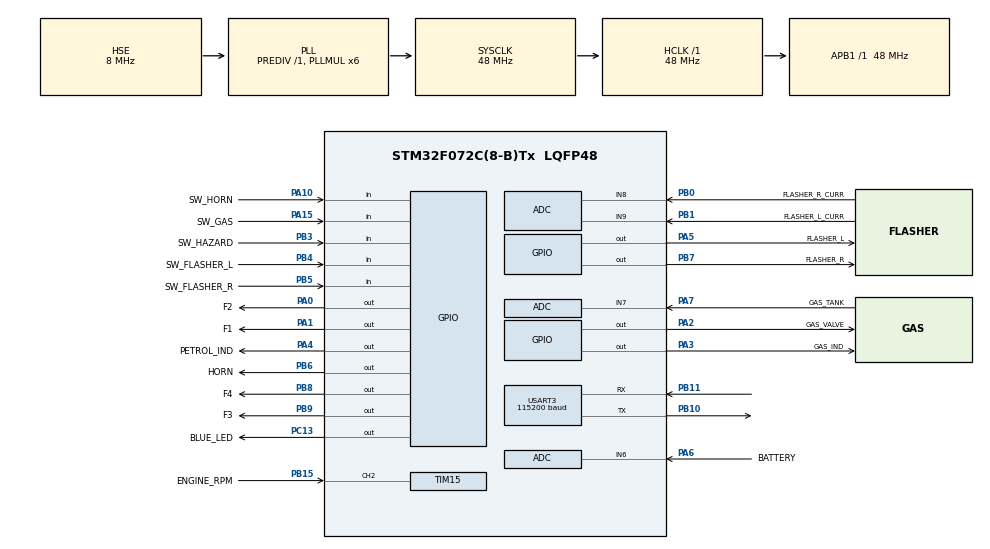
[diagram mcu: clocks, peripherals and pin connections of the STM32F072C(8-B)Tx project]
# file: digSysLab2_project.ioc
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ADC.DiscontinuousConvMode=ENABLE
ADC.SamplingTime=ADC_SAMPLETIME_239CYCLES_5
Dma.Request0=USART3_TX
Dma.Request1=USART3_RX
Dma.USART3_RX.1.Direction=DMA_PERIPH_TO_MEMORY
Dma.USART3_RX.1.Instance=DMA1_Channel3
Dma.USART3_RX.1.MemDataAlignment=DMA_MDATAALIGN_BYTE
Dma.USART3_RX.1.MemInc=DMA_MINC_ENABLE
Dma.USART3_RX.1.Mode=DMA_NORMAL
Dma.USART3_RX.1.PeriphDataAlignment=DMA_PDATAALIGN_BYTE
Dma.USART3_RX.1.PeriphInc=DMA_PINC_DISABLE
Dma.USART3_RX.1.Priority=DMA_PRIORITY_LOW
Dma.USART3_TX.0.Direction=DMA_MEMORY_TO_PERIPH
Dma.USART3_TX.0.Instance=DMA1_Channel2
Dma.USART3_TX.0.MemDataAlignment=DMA_MDATAALIGN_BYTE
Dma.USART3_TX.0.MemInc=DMA_MINC_ENABLE
Dma.USART3_TX.0.Mode=DMA_NORMAL
Dma.USART3_TX.0.PeriphDataAlignment=DMA_PDATAALIGN_BYTE
Dma.USART3_TX.0.PeriphInc=DMA_PINC_DISABLE
Dma.USART3_TX.0.Priority=DMA_PRIORITY_LOW
Mcu.Family=STM32F0
Mcu.Name=STM32F072C(8-B)Tx
Mcu.Package=LQFP48
NVIC.ADC1_COMP_IRQn=true\:0\:0\:false\:false\:true\:true\:true\:true
NVIC.DMA1_Channel2_3_IRQn=true\:0\:0\:false\:false\:true\:false\:true\:true
NVIC.TIM15_IRQn=true\:0\:0\:false\:false\:true\:true\:true\:true
NVIC.TIM7_IRQn=true\:0\:0\:false\:false\:true\:true\:true\:true
NVIC.USART3_4_IRQn=true\:0\:0\:false\:false\:true\:true\:true\:true
PA0.GPIO_Label=F2
PA0.Signal=GPIO_Output
PA1.GPIO_Label=F1
PA1.Signal=GPIO_Output
PA10.GPIO_Label=SW_HORN
PA10.GPIO_PuPd=GPIO_PULLDOWN
PA10.Signal=GPIO_Input
PA13.Mode=Serial_Wire
PA13.Signal=SYS_SWDIO
PA14.Mode=Serial_Wire
PA14.Signal=SYS_SWCLK
PA15.GPIO_Label=SW_GAS
PA15.GPIO_PuPd=GPIO_PULLUP
PA15.Signal=GPIO_Input
PA2.GPIO_Label=GAS_VALVE
PA2.Signal=GPIO_Output
PA3.GPIO_Label=GAS_IND
PA3.Signal=GPIO_Output
PA4.GPIO_Label=PETROL_IND
PA4.Signal=GPIO_Output
PA5.GPIO_Label=FLASHER_L
PA5.Signal=GPIO_Output
PA6.GPIO_Label=BATTERY
PA6.Mode=IN6
PA6.Signal=ADC_IN6
PA7.GPIO_Label=GAS_TANK
PA7.Mode=IN7
PA7.Signal=ADC_IN7
PB0.GPIO_Label=FLASHER_R_CURR
PB0.Mode=IN8
PB0.Signal=ADC_IN8
PB1.GPIO_Label=FLASHER_L_CURR
PB1.Mode=IN9
PB1.Signal=ADC_IN9
PB10.Mode=Asynchronous
PB10.Signal=USART3_TX
PB11.Mode=Asynchronous
PB11.Signal=USART3_RX
PB15.GPIO_Label=ENGINE_RPM
PB15.Signal=S_TIM15_CH2
PB3.GPIO_Label=SW_HAZARD
PB3.GPIO_PuPd=GPIO_PULLDOWN
PB3.Signal=GPIO_Input
PB4.GPIO_Label=SW_FLASHER_L
PB4.GPIO_PuPd=GPIO_PULLUP
PB4.Signal=GPIO_Input
PB5.GPIO_Label=SW_FLASHER_R
PB5.GPIO_PuPd=GPIO_PULLUP
PB5.Signal=GPIO_Input
PB6.GPIO_Label=HORN
PB6.Signal=GPIO_Output
PB7.GPIO_Label=FLASHER_R
PB7.Signal=GPIO_Output
PB8.GPIO_Label=F4
PB8.Signal=GPIO_Output
PB9.GPIO_Label=F3
PB9.Signal=GPIO_Output
PC13.GPIO_Label=BLUE_LED
PC13.Signal=GPIO_Output
PC14-OSC32_IN.Mode=LSE-External-Oscillator
PC14-OSC32_IN.Signal=RCC_OSC32_IN
PC15-OSC32_OUT.Mode=LSE-External-Oscillator
PC15-OSC32_OUT.Signal=RCC_OSC32_OUT
PF0-OSC_IN.Mode=HSE-External-Oscillator
PF0-OSC_IN.Signal=RCC_OSC_IN
PF1-OSC_OUT.Mode=HSE-External-Oscillator
PF1-OSC_OUT.Signal=RCC_OSC_OUT
ProjectManager.HeapSize=0x200
ProjectManager.StackSize=0x400
ProjectManager.TargetToolchain=CMake
RCC.AHBFreq_Value=48000000
RCC.APB1Freq_Value=48000000
RCC.APB1TimFreq_Value=48000000
RCC.EnbaleCSS=true
RCC.HCLKFreq_Value=48000000
RCC.PLLMUL=RCC_PLL_MUL6
RCC.PLLSourceVirtual=RCC_PLLSOURCE_HSE
RCC.SYSCLKFreq_VALUE=48000000
RCC.SYSCLKSource=RCC_SYSCLKSOURCE_PLLCLK
SH.S_TIM15_CH2.0=TIM15_CH2,Input_Capture2_from_TI2
TIM15.Channel-Input_Capture2_from_TI2=TIM_CHANNEL_2
TIM15.Prescaler=48-1
TIM7.Period=1000-1
TIM7.Prescaler=48-1
USART3.BaudRate=115200
USART3.Parity=PARITY_EVEN
USART3.VirtualMode-Asynchronous=VM_ASYNC
USART3.WordLength=WORDLENGTH_9B
VP_TIM15_VS_ClockSourceINT.Mode=Internal
VP_TIM7_VS_ClockSourceINT.Mode=Enable_Timer
board=custom

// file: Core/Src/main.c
/* USER CODE BEGIN Header */
/**
 ******************************************************************************
 * @file           : main.c
 * @brief          : Main program body
 ******************************************************************************
 * @attention
 *
 * Copyright (c) 2026 STMicroelectronics.
 * All rights reserved.
 *
 * This software is licensed under terms that can be found in the LICENSE file
 * in the root directory of this software component.
 * If no LICENSE file comes with this software, it is provided AS-IS.
 *
 ******************************************************************************
 */
/* USER CODE END Header */
#include "main.h"
#include "adc.h"
#include "dma.h"
#include "gpio.h"
#include "tim.h"
#include "usart.h"

/* USER CODE BEGIN Includes */
#include "battery.h"
#include "diagnostic.h"
#include "flasher.h"
#include "fuel.h"
#include "horn.h"
#include "scheduler.h"

/* USER CODE END Includes */

void SystemClock_Config(void);

int main(void) {

  /* MCU Configuration--------------------------------------------------------*/

  /* Reset of all peripherals, Initializes the Flash interface and the Systick.
   */
  HAL_Init();

  /* Configure the system clock */
  SystemClock_Config();

  /* Initialize all configured peripherals */
  MX_GPIO_Init();
  MX_DMA_Init();
  MX_TIM7_Init();
  MX_USART3_UART_Init();
  MX_ADC_Init();
  MX_TIM15_Init();
  /* USER CODE BEGIN 2 */
  HAL_TIM_Base_Start_IT(&htim7);

  /* Initializations */
  ADC_Start(ADC_CHANNEL_6);
  Horn_Init();
  Battery_Init();
  Fuel_Init();
  Flasher_Init();

  /* Create Tasks*/
  createTask(readADC, 10);

  createTask(Horn_ReadInput, 10);
  createTask(Horn_Update, 10);
  createTask(Horn_WriteOutput, 10);

  createTask(Battery_ReadInput, 10);
  createTask(Battery_Update, 10);

  createTask(Fuel_ReadInput, 10);
  createTask(Fuel_Update, 10);
  createTask(Fuel_WriteOutput, 10);

  createTask(Flasher_ReadInput, 10);
  createTask(Flasher_Update, 10);
  createTask(Flasher_WriteOutput, 10);

  createTask(diagnostic, 250);
  /* USER CODE END 2 */

  /* Infinite loop */
  /* USER CODE BEGIN WHILE */
  while (1) {
    readRPM();
    scheduler();
    /* USER CODE END WHILE */

  }
}

void SystemClock_Config(void) {
  RCC_OscInitTypeDef RCC_OscInitStruct = {0};
  RCC_ClkInitTypeDef RCC_ClkInitStruct = {0};

  /** Initializes the RCC Oscillators according to the specified parameters
   * in the RCC_OscInitTypeDef structure.
   */
  RCC_OscInitStruct.OscillatorType =
      RCC_OSCILLATORTYPE_HSI14 | RCC_OSCILLATORTYPE_HSE;
  RCC_OscInitStruct.HSEState = RCC_HSE_ON;
  RCC_OscInitStruct.HSI14State = RCC_HSI14_ON;
  RCC_OscInitStruct.HSI14CalibrationValue = 16;
  RCC_OscInitStruct.PLL.PLLState = RCC_PLL_ON;
  RCC_OscInitStruct.PLL.PLLSource = RCC_PLLSOURCE_HSE;
  RCC_OscInitStruct.PLL.PLLMUL = RCC_PLL_MUL6;
  RCC_OscInitStruct.PLL.PREDIV = RCC_PREDIV_DIV1;
  if (HAL_RCC_OscConfig(&RCC_OscInitStruct) != HAL_OK) {
    Error_Handler();
  }

  /** Initializes the CPU, AHB and APB buses clocks
   */
  RCC_ClkInitStruct.ClockType =
      RCC_CLOCKTYPE_HCLK | RCC_CLOCKTYPE_SYSCLK | RCC_CLOCKTYPE_PCLK1;
  RCC_ClkInitStruct.SYSCLKSource = RCC_SYSCLKSOURCE_PLLCLK;
  RCC_ClkInitStruct.AHBCLKDivider = RCC_SYSCLK_DIV1;
  RCC_ClkInitStruct.APB1CLKDivider = RCC_HCLK_DIV1;

  if (HAL_RCC_ClockConfig(&RCC_ClkInitStruct, FLASH_LATENCY_1) != HAL_OK) {
    Error_Handler();
  }

  /** Enables the Clock Security System
   */
  HAL_RCC_EnableCSS();
}

void Error_Handler(void) {
  __disable_irq();
  while (1) {
  }
}
#ifdef USE_FULL_ASSERT
/**
 * @brief  Reports the name of the source file and the source line number
 *         where the assert_param error has occurred.
 * @param  file: pointer to the source file name
 * @param  line: assert_param error line source number
 * @retval None
 */
void assert_failed(uint8_t *file, uint32_t line) {
  /* USER CODE BEGIN 6 */
  /* User can add his own implementation to report the file name and line
     number, ex: printf("Wrong parameters value: file %s on line %d\r\n", file,
     line) */
  /* USER CODE END 6 */
}
#endif /* USE_FULL_ASSERT */
